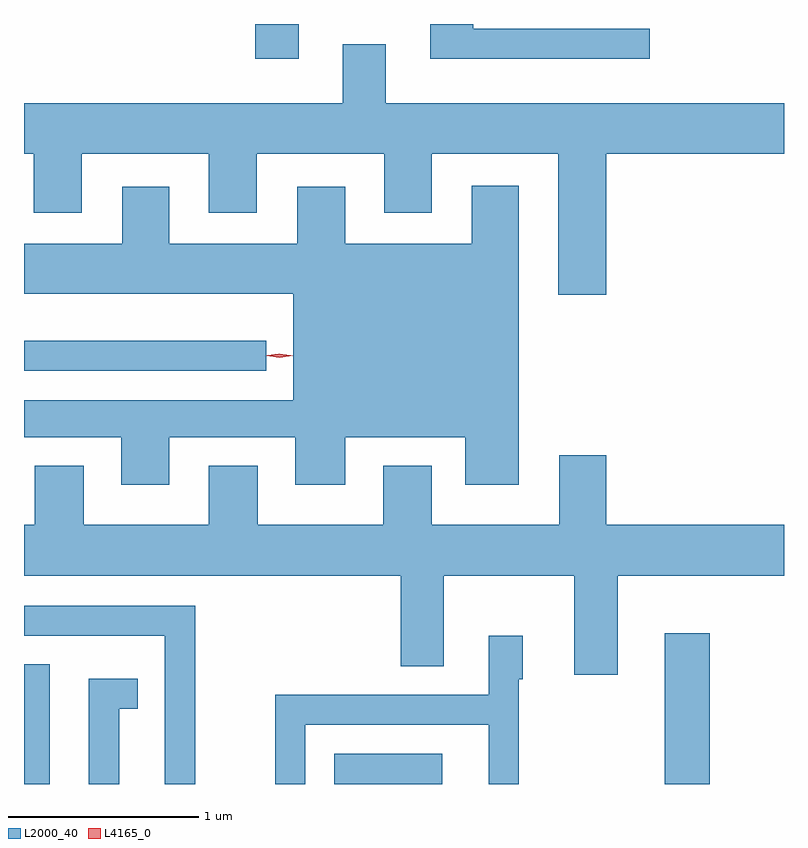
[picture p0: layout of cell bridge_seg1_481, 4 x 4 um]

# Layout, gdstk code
import gdstk
lib = gdstk.Library(unit=1e-6, precision=1e-09)
def R(c, l, rs):  # rectangles x0, y0, x1, y1
    for r in rs: c.add(gdstk.rectangle(r[:2], r[2:], *l))
def P(c, l, *ps):  # polygons
    for p in ps: c.add(gdstk.Polygon(p, *l))
L2000_40 = (2000, 40)
L4165_0 = (4165, 0)

bridge_seg1_481 = lib.new_cell('bridge_seg1_481')
R(bridge_seg1_481, L2000_40, [(608.154,885.16,608.289,885.789), (609.786,885.16,610.354,885.319), (611.526,885.16,611.764,885.954), (608.154,887.336,609.428,887.494), (609.371,888.976,609.599,889.16)])
P(bridge_seg1_481, L2000_40, [(611.448,889.134),(610.519,889.134),(610.519,889.16),(610.291,889.16),(610.291,888.976),(611.448,888.976)],
  [(611.219,888.476),(612.154,888.476),(612.154,888.744),(610.059,888.744),(610.059,889.054),(609.831,889.054),(609.831,888.744),(608.154,888.744),(608.154,888.476),(608.206,888.476),(608.206,888.166),(608.459,888.166),(608.459,888.476),(609.126,888.476),(609.126,888.166),(609.379,888.166),(609.379,888.476),(610.051,888.476),(610.051,888.166),(610.299,888.166),(610.299,888.476),(610.966,888.476),(610.966,887.736),(611.219,887.736)],
  [(608.919,886.986),(609.581,886.986),(609.581,886.736),(609.844,886.736),(609.844,886.986),(610.476,886.986),(610.476,886.736),(610.759,886.736),(610.759,888.309),(610.511,888.309),(610.511,888.004),(609.844,888.004),(609.844,888.304),(609.591,888.304),(609.591,888.004),(608.919,888.004),(608.919,888.304),(608.671,888.304),(608.671,888.004),(608.154,888.004),(608.154,887.741),(609.571,887.741),(609.571,887.179),(608.154,887.179),(608.154,886.986),(608.666,886.986),(608.666,886.736),(608.919,886.736)],
  [(611.279,886.256),(612.154,886.256),(612.154,886.524),(611.219,886.524),(611.219,886.889),(610.971,886.889),(610.971,886.524),(610.299,886.524),(610.299,886.834),(610.046,886.834),(610.046,886.524),(609.384,886.524),(609.384,886.834),(609.126,886.834),(609.126,886.524),(608.469,886.524),(608.469,886.834),(608.211,886.834),(608.211,886.524),(608.154,886.524),(608.154,886.256),(610.136,886.256),(610.136,885.781),(610.364,885.781),(610.364,886.256),(611.051,886.256),(611.051,885.736),(611.279,885.736)],
  [(609.054,886.099),(608.154,886.099),(608.154,885.941),(608.896,885.941),(608.896,885.16),(609.054,885.16)],
  [(609.634,885.471),(610.601,885.471),(610.601,885.16),(610.759,885.16),(610.759,885.711),(610.779,885.711),(610.779,885.939),(610.601,885.939),(610.601,885.629),(609.476,885.629),(609.476,885.16),(609.634,885.16)],
  [(608.654,885.556),(608.753,885.556),(608.753,885.714),(608.496,885.714),(608.496,885.16),(608.654,885.16)])
P(bridge_seg1_481, L4165_0, [(609.495,887.405),(609.433,887.414),(609.433,887.415),(609.433,887.416),(609.495,887.425),(609.557,887.416),(609.558,887.416),(609.557,887.415)],
  [(609.499,887.404),(609.43,887.413),(609.429,887.414),(609.43,887.414),(609.499,887.424),(609.567,887.414),(609.568,887.414),(609.567,887.413)])

lib.write_gds('bridge_seg1_481.gds')
